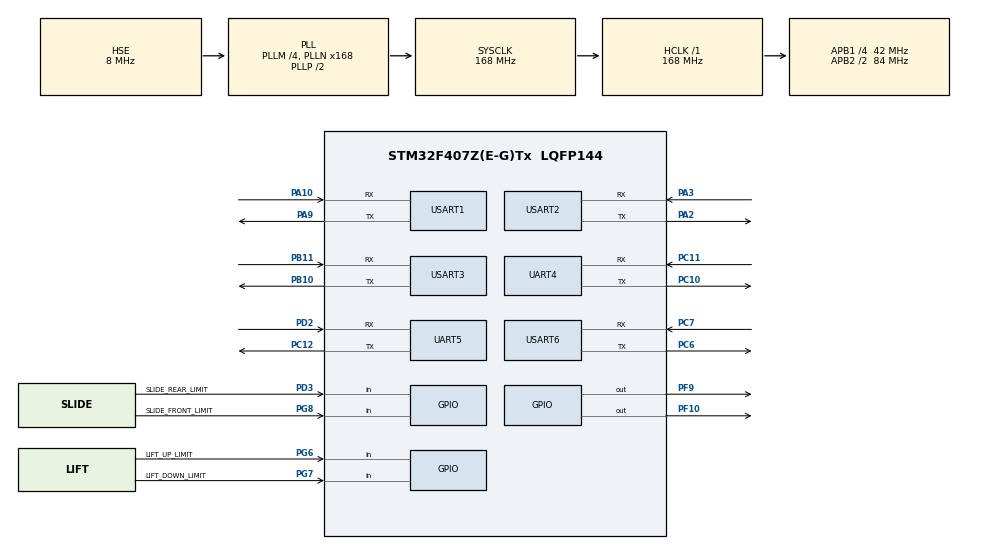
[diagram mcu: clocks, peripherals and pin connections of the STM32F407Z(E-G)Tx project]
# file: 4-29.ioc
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Dma.Request0=USART2_RX
Dma.Request1=USART3_RX
Dma.Request2=USART6_RX
Dma.Request3=USART3_TX
Dma.Request4=USART6_TX
Dma.Request5=USART1_RX
Dma.Request6=USART1_TX
Dma.Request7=UART5_RX
Dma.UART5_RX.7.Direction=DMA_PERIPH_TO_MEMORY
Dma.UART5_RX.7.FIFOMode=DMA_FIFOMODE_DISABLE
Dma.UART5_RX.7.Instance=DMA1_Stream0
Dma.UART5_RX.7.MemDataAlignment=DMA_MDATAALIGN_BYTE
Dma.UART5_RX.7.MemInc=DMA_MINC_ENABLE
Dma.UART5_RX.7.Mode=DMA_CIRCULAR
Dma.UART5_RX.7.PeriphDataAlignment=DMA_PDATAALIGN_BYTE
Dma.UART5_RX.7.PeriphInc=DMA_PINC_DISABLE
Dma.UART5_RX.7.Priority=DMA_PRIORITY_MEDIUM
Dma.USART1_RX.5.Direction=DMA_PERIPH_TO_MEMORY
Dma.USART1_RX.5.FIFOMode=DMA_FIFOMODE_DISABLE
Dma.USART1_RX.5.Instance=DMA2_Stream2
Dma.USART1_RX.5.MemDataAlignment=DMA_MDATAALIGN_BYTE
Dma.USART1_RX.5.MemInc=DMA_MINC_ENABLE
Dma.USART1_RX.5.Mode=DMA_CIRCULAR
Dma.USART1_RX.5.PeriphDataAlignment=DMA_PDATAALIGN_BYTE
Dma.USART1_RX.5.PeriphInc=DMA_PINC_DISABLE
Dma.USART1_RX.5.Priority=DMA_PRIORITY_HIGH
Dma.USART1_TX.6.Direction=DMA_MEMORY_TO_PERIPH
Dma.USART1_TX.6.FIFOMode=DMA_FIFOMODE_DISABLE
Dma.USART1_TX.6.Instance=DMA2_Stream7
Dma.USART1_TX.6.MemDataAlignment=DMA_MDATAALIGN_BYTE
Dma.USART1_TX.6.MemInc=DMA_MINC_ENABLE
Dma.USART1_TX.6.Mode=DMA_NORMAL
Dma.USART1_TX.6.PeriphDataAlignment=DMA_PDATAALIGN_BYTE
Dma.USART1_TX.6.PeriphInc=DMA_PINC_DISABLE
Dma.USART1_TX.6.Priority=DMA_PRIORITY_MEDIUM
Dma.USART2_RX.0.Direction=DMA_PERIPH_TO_MEMORY
Dma.USART2_RX.0.FIFOMode=DMA_FIFOMODE_DISABLE
Dma.USART2_RX.0.Instance=DMA1_Stream5
Dma.USART2_RX.0.MemDataAlignment=DMA_MDATAALIGN_BYTE
Dma.USART2_RX.0.MemInc=DMA_MINC_ENABLE
Dma.USART2_RX.0.Mode=DMA_CIRCULAR
Dma.USART2_RX.0.PeriphDataAlignment=DMA_PDATAALIGN_BYTE
Dma.USART2_RX.0.PeriphInc=DMA_PINC_DISABLE
Dma.USART2_RX.0.Priority=DMA_PRIORITY_MEDIUM
Dma.USART3_RX.1.Direction=DMA_PERIPH_TO_MEMORY
Dma.USART3_RX.1.FIFOMode=DMA_FIFOMODE_DISABLE
Dma.USART3_RX.1.Instance=DMA1_Stream1
Dma.USART3_RX.1.MemDataAlignment=DMA_MDATAALIGN_BYTE
Dma.USART3_RX.1.MemInc=DMA_MINC_ENABLE
Dma.USART3_RX.1.Mode=DMA_CIRCULAR
Dma.USART3_RX.1.PeriphDataAlignment=DMA_PDATAALIGN_BYTE
Dma.USART3_RX.1.PeriphInc=DMA_PINC_DISABLE
Dma.USART3_RX.1.Priority=DMA_PRIORITY_HIGH
Dma.USART3_TX.3.Direction=DMA_MEMORY_TO_PERIPH
Dma.USART3_TX.3.FIFOMode=DMA_FIFOMODE_DISABLE
Dma.USART3_TX.3.Instance=DMA1_Stream3
Dma.USART3_TX.3.MemDataAlignment=DMA_MDATAALIGN_BYTE
Dma.USART3_TX.3.MemInc=DMA_MINC_ENABLE
Dma.USART3_TX.3.Mode=DMA_NORMAL
Dma.USART3_TX.3.PeriphDataAlignment=DMA_PDATAALIGN_BYTE
Dma.USART3_TX.3.PeriphInc=DMA_PINC_DISABLE
Dma.USART3_TX.3.Priority=DMA_PRIORITY_HIGH
Dma.USART6_RX.2.Direction=DMA_PERIPH_TO_MEMORY
Dma.USART6_RX.2.FIFOMode=DMA_FIFOMODE_DISABLE
Dma.USART6_RX.2.Instance=DMA2_Stream1
Dma.USART6_RX.2.MemDataAlignment=DMA_MDATAALIGN_BYTE
Dma.USART6_RX.2.MemInc=DMA_MINC_ENABLE
Dma.USART6_RX.2.Mode=DMA_CIRCULAR
Dma.USART6_RX.2.PeriphDataAlignment=DMA_PDATAALIGN_BYTE
Dma.USART6_RX.2.PeriphInc=DMA_PINC_DISABLE
Dma.USART6_RX.2.Priority=DMA_PRIORITY_MEDIUM
Dma.USART6_TX.4.Direction=DMA_MEMORY_TO_PERIPH
Dma.USART6_TX.4.FIFOMode=DMA_FIFOMODE_DISABLE
Dma.USART6_TX.4.Instance=DMA2_Stream6
Dma.USART6_TX.4.MemDataAlignment=DMA_MDATAALIGN_BYTE
Dma.USART6_TX.4.MemInc=DMA_MINC_ENABLE
Dma.USART6_TX.4.Mode=DMA_NORMAL
Dma.USART6_TX.4.PeriphDataAlignment=DMA_PDATAALIGN_BYTE
Dma.USART6_TX.4.PeriphInc=DMA_PINC_DISABLE
Dma.USART6_TX.4.Priority=DMA_PRIORITY_MEDIUM
Mcu.Family=STM32F4
Mcu.Name=STM32F407Z(E-G)Tx
Mcu.Package=LQFP144
NVIC.DMA1_Stream0_IRQn=true\:3\:0\:true\:false\:true\:false\:true\:true
NVIC.DMA1_Stream1_IRQn=true\:1\:0\:true\:false\:true\:false\:true\:true
NVIC.DMA1_Stream3_IRQn=true\:1\:0\:true\:false\:true\:false\:true\:true
NVIC.DMA1_Stream5_IRQn=true\:3\:0\:true\:false\:true\:false\:true\:true
NVIC.DMA2_Stream1_IRQn=true\:4\:0\:true\:false\:true\:false\:true\:true
NVIC.DMA2_Stream2_IRQn=true\:5\:0\:true\:false\:true\:false\:true\:true
NVIC.DMA2_Stream6_IRQn=true\:4\:0\:true\:false\:true\:false\:true\:true
NVIC.DMA2_Stream7_IRQn=true\:5\:0\:true\:false\:true\:false\:true\:true
NVIC.PriorityGroup=NVIC_PRIORITYGROUP_4
NVIC.TIM6_DAC_IRQn=true\:2\:0\:true\:false\:true\:true\:true\:true
NVIC.UART4_IRQn=true\:5\:0\:true\:false\:true\:true\:true\:true
NVIC.UART5_IRQn=true\:3\:0\:true\:false\:true\:true\:true\:true
NVIC.USART1_IRQn=true\:5\:0\:true\:false\:true\:true\:true\:true
NVIC.USART2_IRQn=true\:3\:0\:true\:false\:true\:true\:true\:true
NVIC.USART3_IRQn=true\:1\:0\:true\:false\:true\:true\:true\:true
NVIC.USART6_IRQn=true\:4\:0\:true\:false\:true\:true\:true\:true
PA10.GPIO_PuPd=GPIO_PULLUP
PA10.Mode=Asynchronous
PA10.Signal=USART1_RX
PA13.Mode=Serial_Wire
PA13.Signal=SYS_JTMS-SWDIO
PA14.Mode=Serial_Wire
PA14.Signal=SYS_JTCK-SWCLK
PA2.Mode=Asynchronous
PA2.Signal=USART2_TX
PA3.Mode=Asynchronous
PA3.Signal=USART2_RX
PA9.GPIO_PuPd=GPIO_PULLUP
PA9.Mode=Asynchronous
PA9.Signal=USART1_TX
PB10.Mode=Asynchronous
PB10.Signal=USART3_TX
PB11.Mode=Asynchronous
PB11.Signal=USART3_RX
PC10.Mode=Asynchronous
PC10.Signal=UART4_TX
PC11.Mode=Asynchronous
PC11.Signal=UART4_RX
PC12.Mode=Asynchronous
PC12.Signal=UART5_TX
PC6.GPIO_PuPd=GPIO_PULLUP
PC6.Mode=Asynchronous
PC6.Signal=USART6_TX
PC7.GPIO_PuPd=GPIO_PULLUP
PC7.Mode=Asynchronous
PC7.Signal=USART6_RX
PD2.Mode=Asynchronous
PD2.Signal=UART5_RX
PD3.GPIO_Label=SLIDE_REAR_LIMIT
PD3.Signal=GPIO_Input
PF10.Signal=GPIO_Output
PF9.Signal=GPIO_Output
PG6.GPIO_Label=LIFT_UP_LIMIT
PG6.GPIO_PuPd=GPIO_PULLUP
PG6.Signal=GPIO_Input
PG7.GPIO_Label=LIFT_DOWN_LIMIT
PG7.GPIO_PuPd=GPIO_PULLUP
PG7.Signal=GPIO_Input
PG8.GPIO_Label=SLIDE_FRONT_LIMIT
PG8.Signal=GPIO_Input
PH0-OSC_IN.Mode=HSE-External-Oscillator
PH0-OSC_IN.Signal=RCC_OSC_IN
PH1-OSC_OUT.Mode=HSE-External-Oscillator
PH1-OSC_OUT.Signal=RCC_OSC_OUT
ProjectManager.HeapSize=0x200
ProjectManager.StackSize=0x400
ProjectManager.TargetToolchain=MDK-ARM V5.32
RCC.48MHZClocksFreq_Value=84000000
RCC.AHBFreq_Value=168000000
RCC.APB1CLKDivider=RCC_HCLK_DIV4
RCC.APB1Freq_Value=42000000
RCC.APB1TimFreq_Value=84000000
RCC.APB2CLKDivider=RCC_HCLK_DIV2
RCC.APB2Freq_Value=84000000
RCC.APB2TimFreq_Value=168000000
RCC.CortexFreq_Value=168000000
RCC.HCLKFreq_Value=168000000
RCC.HSE_VALUE=8000000
RCC.HSI_VALUE=16000000
RCC.LSE_VALUE=32768
RCC.PLLM=4
RCC.PLLN=168
RCC.PLLSourceVirtual=RCC_PLLSOURCE_HSE
RCC.SYSCLKFreq_VALUE=168000000
RCC.SYSCLKSource=RCC_SYSCLKSOURCE_PLLCLK
RCC.VCOOutputFreq_Value=336000000
TIM6.Period=9
TIM6.Prescaler=8399
UART4.VirtualMode=Asynchronous
UART5.VirtualMode=Asynchronous
USART1.VirtualMode=VM_ASYNC
USART2.VirtualMode=VM_ASYNC
USART3.VirtualMode=VM_ASYNC
USART6.VirtualMode=VM_ASYNC
VP_TIM6_VS_ClockSourceINT.Mode=Enable_Timer
board=custom

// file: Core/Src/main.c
/* USER CODE BEGIN Header */
/**
 ******************************************************************************
 * @file           : main.c
 * @brief          : Main program body
 ******************************************************************************
 * @attention
 *
 * Copyright (c) 2026 STMicroelectronics.
 * All rights reserved.
 *
 * This software is licensed under terms that can be found in the LICENSE file
 * in the root directory of this software component.
 * If no LICENSE file comes with this software, it is provided AS-IS.
 *
 ******************************************************************************
 */
/* USER CODE END Header */
#include "main.h"

/* USER CODE BEGIN Includes */
#include <stdio.h>
#include "drive_bus_servo.h"
#include "sensor_ops.h"
#include "sensor_wit.h"
#include "drive_emm.h"
#include "advance_chassis.h"
#include "advance_control.h"
#include "advance_visual.h"
#include "advance_motion.h"
#include "advance_holonomic_position.h"
#include "advance_world.h"
#include "advance_material_task.h"
#include "advance_arm.h"
#include "car_pose.h"
#include "comm_jetson.h"
#include "comm_stdio.h"
#include "comm_tuner.h"

/* USER CODE END Includes */

/* USER CODE BEGIN PD */
/*
 * 设为 1 时进入 USART1 在线调参模式，并自动禁用 printf；
 * 设为 0 时关闭在线调参，恢复 USART1 printf 输出并运行比赛主流程。
 */
#define ONLINE_DEBUG_MODE (1U)

/* TIM6 提供 1 ms 调度节拍，所有业务周期统一在这里配置。 */
#define APP_WORLD_PERIOD_MS ((uint32_t)10U)
#define APP_ORIGIN_PERIOD_MS ((uint32_t)1000U)
#define APP_LED_PERIOD_MS ((uint32_t)1500U)

/* TIM6 负责系统后台周期任务；阻塞式视觉伺服由其接口内部自行调度。 */

/* USER CODE END PD */

TIM_HandleTypeDef htim6;

UART_HandleTypeDef huart4;
UART_HandleTypeDef huart5;
UART_HandleTypeDef huart1;
UART_HandleTypeDef huart2;
UART_HandleTypeDef huart3;
UART_HandleTypeDef huart6;
DMA_HandleTypeDef hdma_uart5_rx;
DMA_HandleTypeDef hdma_usart1_rx;
DMA_HandleTypeDef hdma_usart1_tx;
DMA_HandleTypeDef hdma_usart2_rx;
DMA_HandleTypeDef hdma_usart3_rx;
DMA_HandleTypeDef hdma_usart3_tx;
DMA_HandleTypeDef hdma_usart6_rx;
DMA_HandleTypeDef hdma_usart6_tx;

void SystemClock_Config(void);
static void MX_GPIO_Init(void);
static void MX_DMA_Init(void);
static void MX_UART4_Init(void);
static void MX_UART5_Init(void);
static void MX_USART1_UART_Init(void);
static void MX_USART2_UART_Init(void);
static void MX_USART3_UART_Init(void);
static void MX_USART6_UART_Init(void);
static void MX_TIM6_Init(void);

/* USER CODE BEGIN 0 */
static void App_ToggleLed(void)
{
  HAL_GPIO_TogglePin(GPIOF, GPIO_PIN_9 | GPIO_PIN_10);
}

static void App_TryResetWorldOrigin(void)
{
  WorldPose2D_t pose = {0};

  (void)AdvanceWorld_GetPoseCopy(&pose);
  if (pose.origin_ready == 0U)
  {
    (void)AdvanceWorld_ResetOrigin();
  }
}

static void App_RunTask(Competition_StartArea_t start_area) // 传入启停区编号，有两个启停区需要弄不同的流程，还没有实现
{
  /* 后续比赛流程将根据 start_area 选择对应启停区的业务路径。 */

  printf("[START] area=%u\r\n", (unsigned int)start_area);
  // 丝杆回零部分！！！
  // AdvanceArm_LiftHomeBlocking();
  printf("[ARM] home success\r\n");

  char code[DETECT_QR_CODE_LENGTH + 1U] = {0};
  Detect_TargetList_t targets = {0};
  uint8_t i;

  // 去二维码的路径不同，读完二维码就路径统一了
  // 最终回位也需要这样的处理
  switch(start_area)
  {
    case COMPETITION_START_AREA_1: break;
    case COMPETITION_START_AREA_2: break;
  }

  /* 1. 二维码识别 */
  (void)detect_qr_read_blocking(code);
  printf("[QR] %s\r\n", code);
  HAL_Delay(100U);

  // 视觉定位部分
  /*
  AdvanceVisual_State_t state;
  Chassis_Enable(true);
  HAL_Delay(1500U);
  state = AdvanceVisual_AlignCircleBlocking(NUMBER_3);
  HAL_Delay(1500U);
  state = AdvanceVisual_AlignCircleBlocking(NUMBER_1);
  HAL_Delay(1500U);
  state = AdvanceVisual_AlignCircleBlocking(NUMBER_2);
  // state = AdvanceVisual_AlignColorBlocking(RED);
  printf("[VISUAL] state=%u\r\n", (unsigned int)state);
  */

  printf("Contest finished\r\n");
}

static void App_TimerUpdate(void)
{
  static uint16_t world_elapsed_ms = 0U;
  static uint16_t drive_elapsed_ms = 0U;
  static uint16_t control_elapsed_ms = 0U;
  static uint16_t origin_elapsed_ms = 0U;
  static uint16_t led_elapsed_ms = 0U;

  CommJetson_Update();
#if (ONLINE_DEBUG_MODE != 0U)
  CommTuner_Update();
#endif

  if (++world_elapsed_ms >= APP_WORLD_PERIOD_MS)
  {
    world_elapsed_ms = 0U;
    OPS_Update();
    WIT_Update();
    AdvanceWorld_Update();
  }

  if (++drive_elapsed_ms >= DRIVE_EMM_UPDATE_PERIOD_MS)
  {
    drive_elapsed_ms = 0U;
    drive_emm_Update();
  }

  if (++control_elapsed_ms >= ADVANCE_MOTION_CONTROL_PERIOD_MS)
  {
    control_elapsed_ms = 0U;

    /* PID pending 配置必须在每个 20 ms 周期边界检查一次。 */
    AdvanceMotion_Update();
    /* 全向 pending 配置与控制轮廓也在固定 20 ms 边界推进。 */
    AdvanceHolonomic_Update();
  }

  if (++origin_elapsed_ms >= APP_ORIGIN_PERIOD_MS)
  {
    origin_elapsed_ms = 0U;
    App_TryResetWorldOrigin();
  }

  if (++led_elapsed_ms >= APP_LED_PERIOD_MS)
  {
    led_elapsed_ms = 0U;
    App_ToggleLed();
  }
}

/* USER CODE END 0 */

int main(void)
{

  /* MCU Configuration--------------------------------------------------------*/

  /* Reset of all peripherals, Initializes the Flash interface and the Systick. */
  HAL_Init();

  /* USER CODE BEGIN Init */
  // 提前初始化 GPIO，确认程序是否启动
  __HAL_RCC_GPIOA_CLK_ENABLE();
  __HAL_RCC_GPIOF_CLK_ENABLE();
  __HAL_RCC_GPIOC_CLK_ENABLE();
  GPIO_InitTypeDef GPIO_InitStructInit = {0};

  // 1. 针对你这款蓝色 M144Z-M4 板子，尝试常见的 PA0(LED)
  GPIO_InitStructInit.Pin = GPIO_PIN_0;
  GPIO_InitStructInit.Mode = GPIO_MODE_OUTPUT_PP;
  GPIO_InitStructInit.Pull = GPIO_NOPULL;
  GPIO_InitStructInit.Speed = GPIO_SPEED_FREQ_LOW;
  HAL_GPIO_Init(GPIOA, &GPIO_InitStructInit);

  // 2. 同时保留之前的 PF9/PF10 和 PC13
  GPIO_InitStructInit.Pin = GPIO_PIN_9 | GPIO_PIN_10;
  HAL_GPIO_Init(GPIOF, &GPIO_InitStructInit);

  GPIO_InitStructInit.Pin = GPIO_PIN_13;
  HAL_GPIO_Init(GPIOC, &GPIO_InitStructInit);

  // 全量闪烁测试
  for (int i = 0; i < 10; i++)
  {
    HAL_GPIO_TogglePin(GPIOA, GPIO_PIN_0);
    HAL_GPIO_TogglePin(GPIOF, GPIO_PIN_9 | GPIO_PIN_10);
    HAL_GPIO_TogglePin(GPIOC, GPIO_PIN_13);
    for (volatile int j = 0; j < 300000; j++)
      ; // 缩短延时，亮暗更明显
  }
  /* USER CODE END Init */

  /* Configure the system clock */
  SystemClock_Config();

  /* Initialize all configured peripherals */
  MX_GPIO_Init();
  MX_DMA_Init();
  MX_UART4_Init();
  MX_UART5_Init();
  MX_USART1_UART_Init();
  MX_USART2_UART_Init();
  MX_USART3_UART_Init();
  MX_USART6_UART_Init();
  MX_TIM6_Init();
  /* USER CODE BEGIN 2 */

  CommStdio_Init(&huart1, (uint8_t)(ONLINE_DEBUG_MODE == 0U));

#if (ONLINE_DEBUG_MODE != 0U)
  if (CommTuner_Init(&huart1) != HAL_OK)
  {
    Error_Handler();
  }
#endif

  CommJetson_Init(&huart6);

  // 传感器初始化
  OPS_Init(&huart5);
  WIT_Init();

  /* 上层模块先绑定传感器数据视图，再初始化自身状态。 */
  CarPose_Init();
  AdvanceWorld_Init();
  AdvanceControl_Init();
  AdvanceVisual_Init();
  AdvanceMotion_Init();
  AdvanceHolonomic_Init();
  if (drive_emm_Init() != HAL_OK)
  {
    Error_Handler();
  }
  drive_emm_ConfigureChassisFeedback(
      CHASSIS_MOTOR_LF_ID,
      CHASSIS_MOTOR_RF_ID,
      CHASSIS_MOTOR_LR_ID,
      CHASSIS_MOTOR_RR_ID);
  AdvanceArm_Init();

  // 外设初始化
  BusServo_Init(&huart4);

  /* 原点建立由 1 s 调度任务重试，不阻塞等待 OPS 数据。 */
  if (HAL_TIM_Base_Start_IT(&htim6) != HAL_OK)
  {
    Error_Handler();
  }

  printf("STM32 init finish\r\n");
  // 1. 初始化电机驱动底层 (开启 DMA 接收等)
  // 2. 启动后立即闪烁 3 次作为“板子活了”的信号
  for (int i = 0; i < 6; i++)
  {
    App_ToggleLed();
    HAL_Delay(100);
  }

  /* USER CODE END 2 */

  /* Infinite loop */
  /* USER CODE BEGIN WHILE */

#if (ONLINE_DEBUG_MODE != 0U)
  printf("ONLINE_DEBUG_MODE\r\n");
  while (1)
  {
    CommTuner_Process();
    __WFI();
  }
#else

  // 丝杆回零，要保证光电正常工作
  AdvanceArm_LiftHomeBlocking();

  // 测试
  // AdvanceArm_LiftLowBlocking();
  // AdvanceArm_RotateOutwardLeft();
  // AdvanceArm_RotateOutwardRight();
  // AdvanceArm_RotateToTray();

  Competition_StartArea_t start_area;

  // 比赛尚未开始时只等待 Jetson 的有效启动请求
  while (CommJetson_TakeCompetitionStart(&start_area) == 0U)
  {
    __WFI();
  }
  // 主流程
  // App_RunTask(start_area);
  // AdvanceVisual_AlignDiskCenterBlocking();

  while (1)
  {
    __WFI();
  }
#endif

    /* USER CODE END WHILE */

}

void SystemClock_Config(void)
{
  RCC_OscInitTypeDef RCC_OscInitStruct = {0};
  RCC_ClkInitTypeDef RCC_ClkInitStruct = {0};

  /** Configure the main internal regulator output voltage
  */
  __HAL_RCC_PWR_CLK_ENABLE();
  __HAL_PWR_VOLTAGESCALING_CONFIG(PWR_REGULATOR_VOLTAGE_SCALE1);

  /** Initializes the RCC Oscillators according to the specified parameters
  * in the RCC_OscInitTypeDef structure.
  */
  RCC_OscInitStruct.OscillatorType = RCC_OSCILLATORTYPE_HSE;
  RCC_OscInitStruct.HSEState = RCC_HSE_ON;
  RCC_OscInitStruct.PLL.PLLState = RCC_PLL_ON;
  RCC_OscInitStruct.PLL.PLLSource = RCC_PLLSOURCE_HSE;
  RCC_OscInitStruct.PLL.PLLM = 4;
  RCC_OscInitStruct.PLL.PLLN = 168;
  RCC_OscInitStruct.PLL.PLLP = RCC_PLLP_DIV2;
  RCC_OscInitStruct.PLL.PLLQ = 4;
  if (HAL_RCC_OscConfig(&RCC_OscInitStruct) != HAL_OK)
  {
    Error_Handler();
  }

  /** Initializes the CPU, AHB and APB buses clocks
  */
  RCC_ClkInitStruct.ClockType = RCC_CLOCKTYPE_HCLK|RCC_CLOCKTYPE_SYSCLK
                              |RCC_CLOCKTYPE_PCLK1|RCC_CLOCKTYPE_PCLK2;
  RCC_ClkInitStruct.SYSCLKSource = RCC_SYSCLKSOURCE_PLLCLK;
  RCC_ClkInitStruct.AHBCLKDivider = RCC_SYSCLK_DIV1;
  RCC_ClkInitStruct.APB1CLKDivider = RCC_HCLK_DIV4;
  RCC_ClkInitStruct.APB2CLKDivider = RCC_HCLK_DIV2;

  if (HAL_RCC_ClockConfig(&RCC_ClkInitStruct, FLASH_LATENCY_5) != HAL_OK)
  {
    Error_Handler();
  }
}

static void MX_TIM6_Init(void)
{

  TIM_MasterConfigTypeDef sMasterConfig = {0};

  htim6.Instance = TIM6;
  htim6.Init.Prescaler = 8399;
  htim6.Init.CounterMode = TIM_COUNTERMODE_UP;
  htim6.Init.Period = 9;
  htim6.Init.AutoReloadPreload = TIM_AUTORELOAD_PRELOAD_DISABLE;
  if (HAL_TIM_Base_Init(&htim6) != HAL_OK)
  {
    Error_Handler();
  }
  sMasterConfig.MasterOutputTrigger = TIM_TRGO_RESET;
  sMasterConfig.MasterSlaveMode = TIM_MASTERSLAVEMODE_DISABLE;
  if (HAL_TIMEx_MasterConfigSynchronization(&htim6, &sMasterConfig) != HAL_OK)
  {
    Error_Handler();
  }

}

static void MX_UART4_Init(void)
{

  huart4.Instance = UART4;
  huart4.Init.BaudRate = 115200;
  huart4.Init.WordLength = UART_WORDLENGTH_8B;
  huart4.Init.StopBits = UART_STOPBITS_1;
  huart4.Init.Parity = UART_PARITY_NONE;
  huart4.Init.Mode = UART_MODE_TX_RX;
  huart4.Init.HwFlowCtl = UART_HWCONTROL_NONE;
  huart4.Init.OverSampling = UART_OVERSAMPLING_16;
  if (HAL_UART_Init(&huart4) != HAL_OK)
  {
    Error_Handler();
  }

}

static void MX_UART5_Init(void)
{

  huart5.Instance = UART5;
  huart5.Init.BaudRate = 115200;
  huart5.Init.WordLength = UART_WORDLENGTH_8B;
  huart5.Init.StopBits = UART_STOPBITS_1;
  huart5.Init.Parity = UART_PARITY_NONE;
  huart5.Init.Mode = UART_MODE_TX_RX;
  huart5.Init.HwFlowCtl = UART_HWCONTROL_NONE;
  huart5.Init.OverSampling = UART_OVERSAMPLING_16;
  if (HAL_UART_Init(&huart5) != HAL_OK)
  {
    Error_Handler();
  }

}

static void MX_USART1_UART_Init(void)
{

  huart1.Instance = USART1;
  huart1.Init.BaudRate = 115200;
  huart1.Init.WordLength = UART_WORDLENGTH_8B;
  huart1.Init.StopBits = UART_STOPBITS_1;
  huart1.Init.Parity = UART_PARITY_NONE;
  huart1.Init.Mode = UART_MODE_TX_RX;
  huart1.Init.HwFlowCtl = UART_HWCONTROL_NONE;
  huart1.Init.OverSampling = UART_OVERSAMPLING_16;
  if (HAL_UART_Init(&huart1) != HAL_OK)
  {
    Error_Handler();
  }

}

static void MX_USART2_UART_Init(void)
{

  huart2.Instance = USART2;
  huart2.Init.BaudRate = 115200;
  huart2.Init.WordLength = UART_WORDLENGTH_8B;
  huart2.Init.StopBits = UART_STOPBITS_1;
  huart2.Init.Parity = UART_PARITY_NONE;
  huart2.Init.Mode = UART_MODE_TX_RX;
  huart2.Init.HwFlowCtl = UART_HWCONTROL_NONE;
  huart2.Init.OverSampling = UART_OVERSAMPLING_16;
  if (HAL_UART_Init(&huart2) != HAL_OK)
  {
    Error_Handler();
  }

}

static void MX_USART3_UART_Init(void)
{

  huart3.Instance = USART3;
  huart3.Init.BaudRate = 115200;
  huart3.Init.WordLength = UART_WORDLENGTH_8B;
  huart3.Init.StopBits = UART_STOPBITS_1;
  huart3.Init.Parity = UART_PARITY_NONE;
  huart3.Init.Mode = UART_MODE_TX_RX;
  huart3.Init.HwFlowCtl = UART_HWCONTROL_NONE;
  huart3.Init.OverSampling = UART_OVERSAMPLING_16;
  if (HAL_UART_Init(&huart3) != HAL_OK)
  {
    Error_Handler();
  }

}

static void MX_USART6_UART_Init(void)
{

  huart6.Instance = USART6;
  huart6.Init.BaudRate = 115200;
  huart6.Init.WordLength = UART_WORDLENGTH_8B;
  huart6.Init.StopBits = UART_STOPBITS_1;
  huart6.Init.Parity = UART_PARITY_NONE;
  huart6.Init.Mode = UART_MODE_TX_RX;
  huart6.Init.HwFlowCtl = UART_HWCONTROL_NONE;
  huart6.Init.OverSampling = UART_OVERSAMPLING_16;
  if (HAL_UART_Init(&huart6) != HAL_OK)
  {
    Error_Handler();
  }

}

static void MX_DMA_Init(void)
{

  /* DMA controller clock enable */
  __HAL_RCC_DMA1_CLK_ENABLE();
  __HAL_RCC_DMA2_CLK_ENABLE();

  /* DMA interrupt init */
  /* DMA1_Stream0_IRQn interrupt configuration */
  HAL_NVIC_SetPriority(DMA1_Stream0_IRQn, 3, 0);
  HAL_NVIC_EnableIRQ(DMA1_Stream0_IRQn);
  /* DMA1_Stream1_IRQn interrupt configuration */
  HAL_NVIC_SetPriority(DMA1_Stream1_IRQn, 1, 0);
  HAL_NVIC_EnableIRQ(DMA1_Stream1_IRQn);
  /* DMA1_Stream3_IRQn interrupt configuration */
  HAL_NVIC_SetPriority(DMA1_Stream3_IRQn, 1, 0);
  HAL_NVIC_EnableIRQ(DMA1_Stream3_IRQn);
  /* DMA1_Stream5_IRQn interrupt configuration */
  HAL_NVIC_SetPriority(DMA1_Stream5_IRQn, 3, 0);
  HAL_NVIC_EnableIRQ(DMA1_Stream5_IRQn);
  /* DMA2_Stream1_IRQn interrupt configuration */
  HAL_NVIC_SetPriority(DMA2_Stream1_IRQn, 4, 0);
  HAL_NVIC_EnableIRQ(DMA2_Stream1_IRQn);
  /* DMA2_Stream2_IRQn interrupt configuration */
  HAL_NVIC_SetPriority(DMA2_Stream2_IRQn, 5, 0);
  HAL_NVIC_EnableIRQ(DMA2_Stream2_IRQn);
  /* DMA2_Stream6_IRQn interrupt configuration */
  HAL_NVIC_SetPriority(DMA2_Stream6_IRQn, 4, 0);
  HAL_NVIC_EnableIRQ(DMA2_Stream6_IRQn);
  /* DMA2_Stream7_IRQn interrupt configuration */
  HAL_NVIC_SetPriority(DMA2_Stream7_IRQn, 5, 0);
  HAL_NVIC_EnableIRQ(DMA2_Stream7_IRQn);

}

static void MX_GPIO_Init(void)
{
  GPIO_InitTypeDef GPIO_InitStruct = {0};

  /* GPIO Ports Clock Enable */
  __HAL_RCC_GPIOF_CLK_ENABLE();
  __HAL_RCC_GPIOH_CLK_ENABLE();
  __HAL_RCC_GPIOA_CLK_ENABLE();
  __HAL_RCC_GPIOB_CLK_ENABLE();
  __HAL_RCC_GPIOG_CLK_ENABLE();
  __HAL_RCC_GPIOC_CLK_ENABLE();
  __HAL_RCC_GPIOD_CLK_ENABLE();

  /*Configure GPIO pin Output Level */
  HAL_GPIO_WritePin(GPIOF, GPIO_PIN_9|GPIO_PIN_10, GPIO_PIN_RESET);

  /*Configure GPIO pins : PF9 PF10 */
  GPIO_InitStruct.Pin = GPIO_PIN_9|GPIO_PIN_10;
  GPIO_InitStruct.Mode = GPIO_MODE_OUTPUT_PP;
  GPIO_InitStruct.Pull = GPIO_NOPULL;
  GPIO_InitStruct.Speed = GPIO_SPEED_FREQ_LOW;
  HAL_GPIO_Init(GPIOF, &GPIO_InitStruct);

  /*Configure GPIO pins : LIFT_UP_LIMIT_Pin LIFT_DOWN_LIMIT_Pin */
  GPIO_InitStruct.Pin = LIFT_UP_LIMIT_Pin|LIFT_DOWN_LIMIT_Pin;
  GPIO_InitStruct.Mode = GPIO_MODE_INPUT;
  GPIO_InitStruct.Pull = GPIO_PULLUP;
  HAL_GPIO_Init(GPIOG, &GPIO_InitStruct);

  /*Configure GPIO pin : SLIDE_FRONT_LIMIT_Pin */
  GPIO_InitStruct.Pin = SLIDE_FRONT_LIMIT_Pin;
  GPIO_InitStruct.Mode = GPIO_MODE_INPUT;
  GPIO_InitStruct.Pull = GPIO_NOPULL;
  HAL_GPIO_Init(SLIDE_FRONT_LIMIT_GPIO_Port, &GPIO_InitStruct);

  /*Configure GPIO pin : SLIDE_REAR_LIMIT_Pin */
  GPIO_InitStruct.Pin = SLIDE_REAR_LIMIT_Pin;
  GPIO_InitStruct.Mode = GPIO_MODE_INPUT;
  GPIO_InitStruct.Pull = GPIO_NOPULL;
  HAL_GPIO_Init(SLIDE_REAR_LIMIT_GPIO_Port, &GPIO_InitStruct);

}

/* USER CODE BEGIN 4 */

void HAL_UART_RxCpltCallback(UART_HandleTypeDef *huart)
{
  (void)huart;
}

void HAL_UARTEx_RxEventCallback(UART_HandleTypeDef *huart, uint16_t Size)
{
  if (huart->Instance == UART5)
  {
    OPS_OnUartRxEvent(huart, Size);
  }

  if (huart->Instance == USART2)
  {
    WIT_OnUartRxEvent(huart, Size);
  }

  if (huart->Instance == USART3)
  {
    drive_emm_OnUartRxEvent(huart, Size);
  }

  if (huart->Instance == USART6)
  {
    CommJetson_OnUartRxEvent(huart, Size);
  }

  if (huart->Instance == USART1)
  {
    CommTuner_OnUartRxEvent(huart, Size);
  }
}

void HAL_UART_TxCpltCallback(UART_HandleTypeDef *huart)
{
  if (huart->Instance == USART3)
  {
    drive_emm_OnTxComplete(huart);
  }

  if (huart->Instance == USART6)
  {
    CommJetson_OnUartTxComplete(huart);
  }

  if (huart->Instance == USART1)
  {
    CommTuner_OnUartTxComplete(huart);
  }
}

void HAL_UART_AbortTransmitCpltCallback(UART_HandleTypeDef *huart)
{
  if (huart->Instance == USART3)
  {
    drive_emm_OnTxAbortComplete(huart);
  }
}

void HAL_UART_ErrorCallback(UART_HandleTypeDef *huart)
{
  if (huart->Instance == USART3)
  {
    drive_emm_OnUartError(huart);
  }

  if (huart->Instance == UART5)
  {
    OPS_OnUartError(huart);
  }

  if (huart->Instance == USART2)
  {
    WIT_OnUartError(huart);
  }

  if (huart->Instance == USART6)
  {
    CommJetson_OnUartError(huart);
  }

  if (huart->Instance == USART1)
  {
    CommTuner_OnUartError(huart);
  }
}

void HAL_TIM_PeriodElapsedCallback(TIM_HandleTypeDef *htim)
{
  if (htim->Instance == TIM6)
  {
    App_TimerUpdate();
  }
}

/* USER CODE END 4 */

void Error_Handler(void)
{
  __disable_irq();
  while (1)
  {
  }
}
